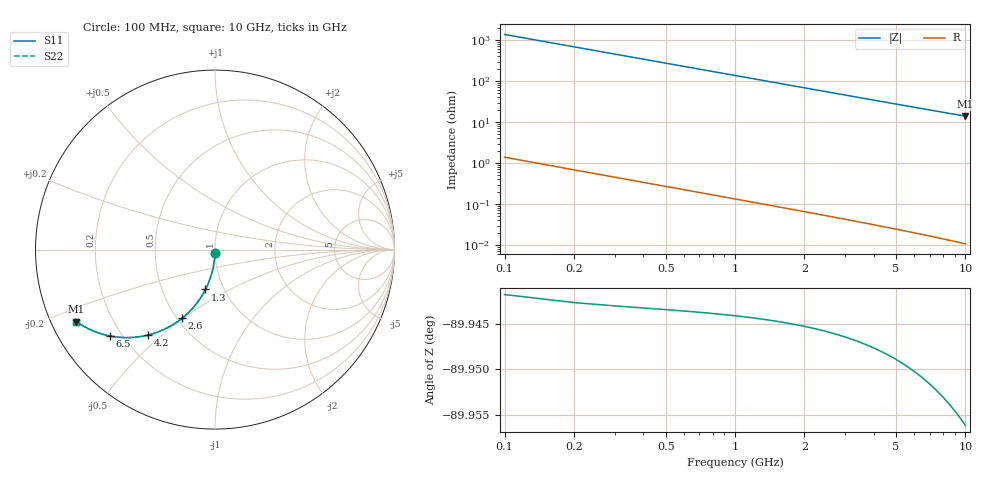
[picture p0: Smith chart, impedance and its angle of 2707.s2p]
# Hz S RI R 50.00
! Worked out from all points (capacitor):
!   100 points, 100 MHz to 10 GHz, reference 50 ohm
!   read as one part in shunt: C = 1.16 pF near 100 MHz
!   lowest |Z| = 14 ohm at 10 GHz (marker M1)
!   S11 on the Smith chart (normalised r, x): 100 MHz: 1.00, -0.04; 1.3 GHz: 0.82, -0.38; 2.6 GHz: 0.53, -0.49; 4.2 GHz: 0.30, -0.45; 6.5 GHz: 0.15, -0.35; 10 GHz: 0.07, -0.24
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1e8  -0.000211 -0.0181  0.9995 -0.0184  0.9995 -0.0184  -0.000211 -0.0181
2e8  -0.00122 -0.0361  0.9985 -0.0368  0.9985 -0.0368  -0.00122 -0.0361
3e8  -0.0029 -0.0541  0.9968 -0.0551  0.9968 -0.0551  -0.0029 -0.0541
4e8  -0.00522 -0.0719  0.9945 -0.0732  0.9945 -0.0732  -0.00522 -0.0719
5e8  -0.0082 -0.0896  0.9915 -0.0913  0.9915 -0.0913  -0.0082 -0.0896
6e8  -0.0118 -0.1071  0.9879 -0.1091  0.9879 -0.1091  -0.0118 -0.1071
7e8  -0.016 -0.1244  0.9837 -0.1268  0.9837 -0.1268  -0.016 -0.1244
8e8  -0.0208 -0.1415  0.9789 -0.1442  0.9789 -0.1442  -0.0208 -0.1415
1e9  -0.0322 -0.1748  0.9675 -0.1782  0.9675 -0.1782  -0.0322 -0.1748
1.3e9  -0.0533 -0.2223  0.9464 -0.2266  0.9464 -0.2266  -0.0533 -0.2223
1.5e9  -0.0697 -0.252  0.9299 -0.257  0.9299 -0.257  -0.0697 -0.252
1.8e9  -0.0975 -0.2933  0.9022 -0.2993  0.9022 -0.2993  -0.0975 -0.2933
2.2e9  -0.1389 -0.3418  0.8608 -0.3492  0.8608 -0.3492  -0.1389 -0.3418
2.6e9  -0.1839 -0.3827  0.8158 -0.3914  0.8158 -0.3914  -0.1839 -0.3827
3.4e9  -0.2783 -0.442  0.7214 -0.4534  0.7214 -0.4534  -0.2783 -0.442
4.2e9  -0.3706 -0.4754  0.629 -0.4896  0.629 -0.4896  -0.3706 -0.4754
5.1e9  -0.465 -0.4897  0.5345 -0.5069  0.5345 -0.5069  -0.465 -0.4897
6.5e9  -0.586 -0.481  0.4134 -0.503  0.4134 -0.503  -0.586 -0.481
6.7e9  -0.6007 -0.4778  0.3987 -0.5005  0.3987 -0.5005  -0.6007 -0.4778
7.5e9  -0.6538 -0.4624  0.3455 -0.4878  0.3455 -0.4878  -0.6538 -0.4624
8.4e9  -0.7037 -0.4417  0.2956 -0.4702  0.2956 -0.4702  -0.7037 -0.4417
1e10  -0.7717 -0.4018  0.2273 -0.4359  0.2273 -0.4359  -0.7717 -0.4018
